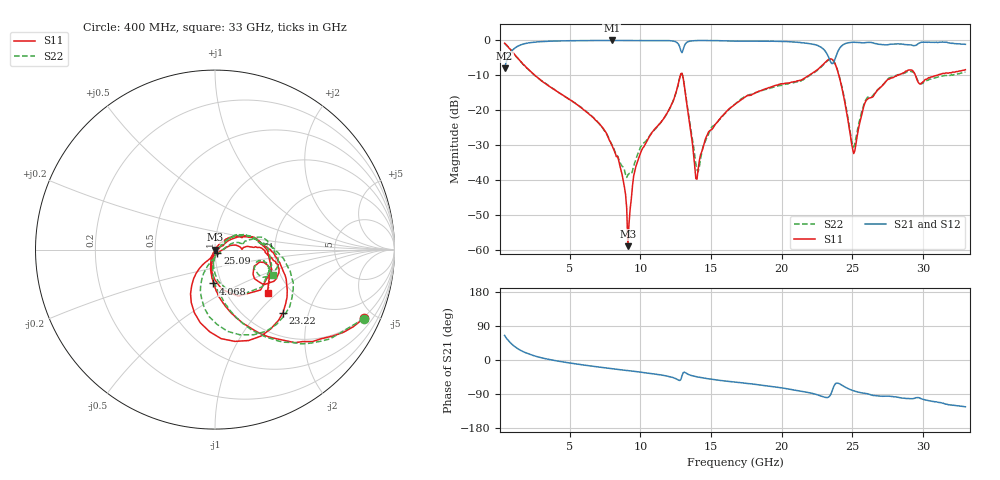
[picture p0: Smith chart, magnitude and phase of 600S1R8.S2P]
!  American Technical Ceramics  Date:  4/26/2005
!  One Norden Lane
!  Huntington Station,  NY.  11746-2102
!  Tel:  (631) 622-4700  Fax:  (631) 622-4748
!  Part Number  600S1R8  Mounting Orientation: Horizontal
!  Description: Ultra Low ESR Microwave capacitors
!  Application: Coupling, Bypass, Tuning, DC Block
!  Filters, Matching
# GHZ S DB R 50
! Freq  |S11|  S11 Ph  |S21|  S21 Ph  |S12|  S12 Ph  |S22|  S22 Ph
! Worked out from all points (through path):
!   401 points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, 400 MHz to 33 GHz, reference 50 ohm
!   highest |S21| = 0.00 dB at 7.98 GHz (marker M1); lowest = -7.9 dB at 400 MHz (marker M2)
!   group delay of S21, straight-line fit = 11.8 ps
!   lowest |S11| = -58.9 dB at 9.121 GHz (marker M3), VSWR 1.00, Z = 50.1 - j0.0925 ohm
!   |S11| at or under -10 dB: 2.546 GHz to 12.84 GHz (10.29 GHz wide, 134 % of centre); 12.99 GHz to 21.93 GHz (8.938 GHz wide, 51.2 % of centre); 24.05 GHz to 28.17 GHz (4.124 GHz wide, 15.8 % of centre)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
!   |S22| runs from -39.2 to -0.8 dB; largest |S21 - S12| = 0.017
!   S11 on the Smith chart (normalised r, x): 400 MHz: 0.94, -4.35; 4.068 GHz: 0.92, -0.36; 23.22 GHz: 1.44, -1.38; 25.09 GHz: 1.03, -0.04; 33 GHz: 1.54, -0.87
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0.4  -0.79 -24.8  -7.93 64.8  -7.94 64.7  -0.76 -24.8
1.704  -6.84 -67.6  -1.06 22.2  -1.06 21.8  -6.83 -67.8
4.068  -14.49 -92.5  -0.16 -2.2  -0.17 -2.3  -14.44 -90.7
5.861  -19.37 -103.1  -0.04 -12.5  -0.05 -12.5  -19.30 -96.7
7.98  -29.88 -115.6  0.00 -22.8  -0.01 -22.8  -29.75 -91.1
8.632  -37.13 -111.6  -0.01 -25.9  0.00 -26.0  -35.47 -73.1
9.121  -58.89 -54.4  -0.01 -28.1  -0.02 -28.1  -38.50 -22.7
9.854  -34.05 54.3  -0.01 -31.3  -0.01 -31.3  -32.13 31.5
11.321  -24.01 45.7  -0.01 -38.6  0.00 -38.6  -24.16 39.2
12.544  -14.70 24.8  -0.47 -49.8  -0.48 -49.8  -14.66 25.3
12.951  -9.39 -41.5  -3.49 -41.6  -3.44 -41.6  -9.50 -38.3
13.277  -17.80 -97.3  -0.58 -35.5  -0.60 -35.7  -17.40 -89.8
14.011  -39.72 -23.0  -0.03 -44.4  -0.04 -44.3  -37.08 -45.0
14.744  -27.01 27.3  -0.02 -49.2  -0.02 -49.0  -27.58 33.7
16.7  -18.29 31.1  -0.17 -58.3  -0.15 -58.3  -18.23 36.6
22.161  -9.42 -6.3  -1.06 -87.9  -1.06 -87.8  -9.55 0.5
23.22  -5.74 -42.8  -3.95 -99.3  -3.97 -98.8  -5.91 -32.1
23.954  -8.63 -108.1  -3.38 -60.9  -3.40 -61.0  -8.53 -95.1
25.095  -32.38 -55.9  -0.52 -81.3  -0.55 -81.0  -30.53 -42.2
25.991  -17.11 6.4  -0.61 -88.4  -0.64 -88.2  -16.74 14.1
27.621  -11.04 -3.2  -1.14 -95.6  -1.17 -95.4  -10.71 10.6
33  -8.37 -39.4  -1.11 -123.4  -1.13 -123.2  -9.09 -23.6
